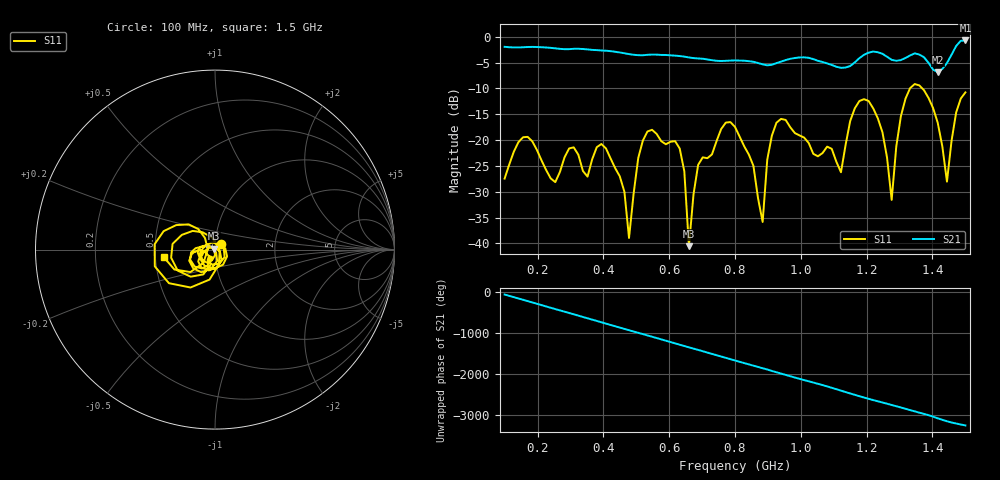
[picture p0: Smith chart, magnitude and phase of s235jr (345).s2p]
! NanoVNA-App
! Date: 2025-09-25 15:06:51
! Start: 100MHz Stop: 1,5GHz Points: 101
! S-Parameter data: F S11 S21 S12 S22
# Hz S RI R 50
!  Frequency  S11_Real  S11_Imag  S21_Real  S21_Imag  S12_Real  S12_Imag  S22_Real  S22_Imag
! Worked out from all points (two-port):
!   101 points, 100 MHz to 1.5 GHz, reference 50 ohm
!   highest |S21| = -0.73 dB at 1.5 GHz (marker M1); lowest = -6.9 dB at 1.416 GHz (marker M2)
!   |S21| within 3 dB of the highest: start of sweep to 628.9 MHz; 1.187 GHz to 1.258 GHz (70.84 MHz wide, 5.79 % of centre) (the widest 2 of 4)
!   lowest |S11| = -40.5 dB at 660 MHz (marker M3), VSWR 1.02, Z = 49.2 + j0.526 ohm
!   |S11| at or under -10 dB: start of sweep to 1.332 GHz; 1.369 GHz to end of sweep
!   S12 and S22 are empty: the file has one direction only
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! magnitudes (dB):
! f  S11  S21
! 100 MHz  -27.5  -2.0
! 156 MHz  -19.5  -2.0
! 338 MHz  -26.0  -2.4
! 408 MHz  -21.6  -2.7
! 478 MHz  -39.0  -3.4
! 520 MHz  -20.1  -3.6
! 576 MHz  -20.2  -3.5
! 632 MHz  -21.6  -3.7
! 660 MHz  -40.5  -4.0
! 688 MHz  -24.8  -4.2
! 800 MHz  -17.5  -4.6
! 884 MHz  -35.9  -5.4
! 898 MHz  -23.8  -5.5
! 926 MHz  -16.6  -5.1
! 1.038 GHz  -22.7  -4.3
! 1.122 GHz  -26.2  -6.0
! 1.206 GHz  -12.4  -3.1
! 1.276 GHz  -31.6  -4.5
! 1.332 GHz  -10.0  -3.6
! 1.416 GHz  -16.7  -6.9
! 1.444 GHz  -28.0  -5.1
! 1.5 GHz  -10.8  -0.7
